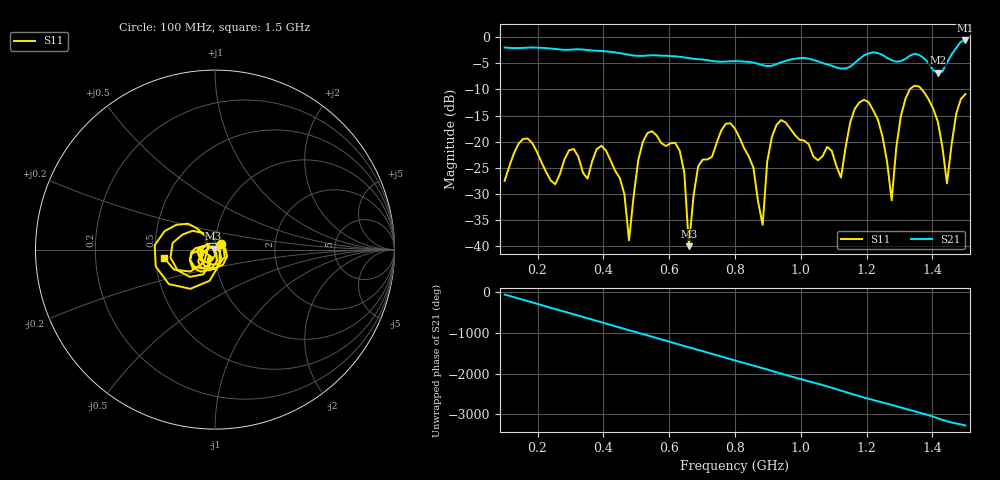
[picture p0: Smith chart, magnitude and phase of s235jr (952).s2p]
! NanoVNA-App
! Date: 2025-09-25 15:11:35
! Start: 100MHz Stop: 1,5GHz Points: 101
! S-Parameter data: F S11 S21 S12 S22
# Hz S RI R 50
!  Frequency  S11_Real  S11_Imag  S21_Real  S21_Imag  S12_Real  S12_Imag  S22_Real  S22_Imag
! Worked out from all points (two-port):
!   101 points, 100 MHz to 1.5 GHz, reference 50 ohm
!   highest |S21| = -0.63 dB at 1.5 GHz (marker M1); lowest = -6.8 dB at 1.416 GHz (marker M2)
!   |S21| within 3 dB of the highest: start of sweep to 608.2 MHz; 1.189 GHz to 1.254 GHz (65.2 MHz wide, 5.34 % of centre) (the widest 2 of 4)
!   lowest |S11| = -40.0 dB at 660 MHz (marker M3), VSWR 1.02, Z = 49.2 + j0.555 ohm
!   |S11| at or under -10 dB: start of sweep to 1.331 GHz; 1.367 GHz to end of sweep
!   S12 and S22 are empty: the file has one direction only
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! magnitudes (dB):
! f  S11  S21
! 100 MHz  -27.5  -2.0
! 170 MHz  -19.4  -2.0
! 338 MHz  -25.9  -2.4
! 408 MHz  -21.7  -2.7
! 478 MHz  -38.9  -3.4
! 520 MHz  -20.0  -3.6
! 576 MHz  -20.2  -3.5
! 632 MHz  -21.7  -3.7
! 660 MHz  -40.0  -4.0
! 688 MHz  -24.7  -4.2
! 800 MHz  -17.5  -4.6
! 884 MHz  -35.9  -5.4
! 926 MHz  -16.8  -5.1
! 1.038 GHz  -22.8  -4.4
! 1.122 GHz  -26.8  -6.0
! 1.164 GHz  -13.7  -4.9
! 1.206 GHz  -12.4  -3.1
! 1.276 GHz  -31.2  -4.4
! 1.332 GHz  -9.9  -3.5
! 1.416 GHz  -16.1  -6.8
! 1.444 GHz  -27.9  -4.9
! 1.5 GHz  -10.9  -0.6
